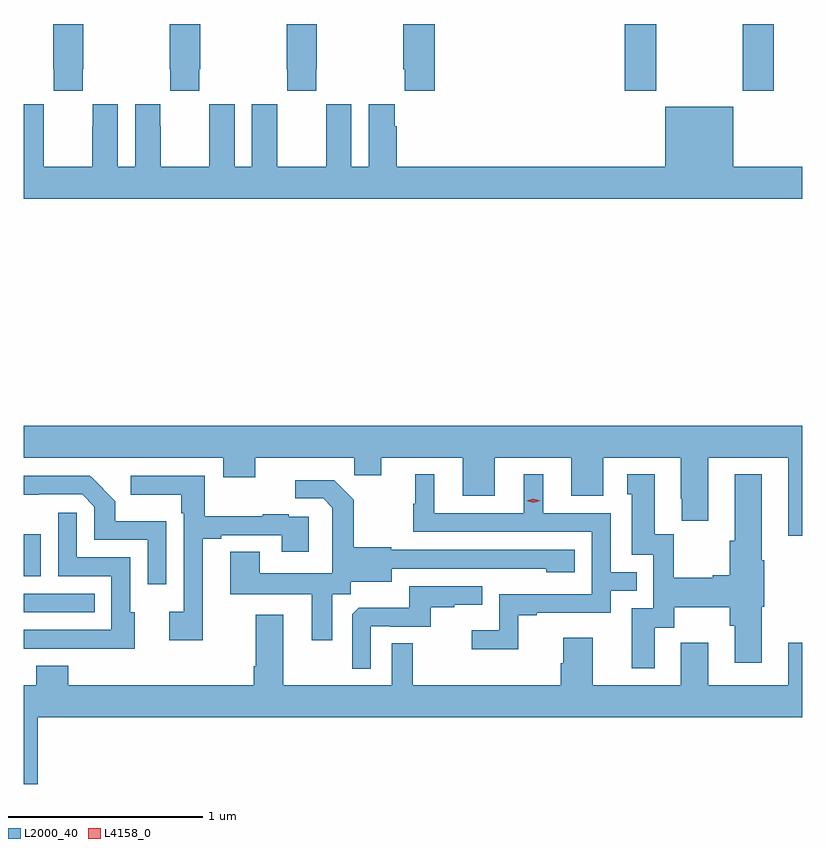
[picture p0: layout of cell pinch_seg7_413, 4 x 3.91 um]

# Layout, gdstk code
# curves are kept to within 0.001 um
import gdstk
lib = gdstk.Library(unit=1e-6, precision=1e-09)
def R(c, l, rs):  # rectangles x0, y0, x1, y1
    for r in rs: c.add(gdstk.rectangle(r[:2], r[2:], *l))
def P(c, l, *ps):  # polygons
    for p in ps: c.add(gdstk.Polygon(p, *l))
L2000_40 = (2000, 40)
L4158_0 = (4158, 0)

pinch_seg7_413 = lib.new_cell('pinch_seg7_413')
R(pinch_seg7_413, L2000_40, [(349.656,1046.442,350.021,1046.538), (349.656,1046.627,349.744,1046.842), (352.745,1049.121,352.905,1049.465), (353.35,1049.121,353.51,1049.465)])
P(pinch_seg7_413, L2000_40, [(350.559,1049.233),(350.562,1049.233),(350.562,1049.465),(350.407,1049.465),(350.407,1049.233),(350.409,1049.233),(350.409,1049.121),(350.559,1049.121)],
  [(351.159,1049.233),(351.162,1049.233),(351.162,1049.465),(351.007,1049.465),(351.007,1049.233),(351.009,1049.233),(351.009,1049.121),(351.159,1049.121)],
  [(351.767,1049.465),(351.607,1049.465),(351.607,1049.233),(351.613,1049.233),(351.613,1049.121),(351.767,1049.121)],
  [(349.959,1049.233),(349.962,1049.233),(349.962,1049.465),(349.807,1049.465),(349.807,1049.233),(349.809,1049.233),(349.809,1049.121),(349.959,1049.121)],
  [(353.656,1048.732),(353.302,1048.732),(353.302,1049.041),(352.952,1049.041),(352.952,1048.732),(351.572,1048.732),(351.572,1048.94),(351.562,1048.94),(351.562,1049.053),(351.428,1049.053),(351.428,1048.732),(351.34,1048.732),(351.34,1049.053),(351.21,1049.053),(351.21,1048.94),(351.209,1048.94),(351.209,1048.732),(350.959,1048.732),(350.959,1048.94),(350.958,1048.94),(350.958,1049.053),(350.828,1049.053),(350.828,1048.732),(350.74,1048.732),(350.74,1049.053),(350.61,1049.053),(350.61,1048.94),(350.609,1048.94),(350.609,1048.732),(350.359,1048.732),(350.359,1048.94),(350.358,1048.94),(350.358,1049.053),(350.228,1049.053),(350.228,1048.732),(350.14,1048.732),(350.14,1049.053),(350.01,1049.053),(350.01,1048.94),(350.009,1048.94),(350.009,1048.732),(349.759,1048.732),(349.759,1048.94),(349.758,1048.94),(349.758,1049.053),(349.656,1049.053),(349.656,1048.568),(353.656,1048.568)],
  [(353.656,1047.4),(349.656,1047.4),(349.656,1047.236),(350.681,1047.236),(350.681,1047.137),(350.845,1047.137),(350.845,1047.236),(351.355,1047.236),(351.355,1047.146),(351.493,1047.146),(351.493,1047.236),(351.911,1047.236),(351.911,1047.042),(352.075,1047.042),(352.075,1047.236),(352.469,1047.236),(352.469,1047.042),(352.633,1047.042),(352.633,1047.236),(353.033,1047.236),(353.033,1047.025),(353.036,1047.025),(353.036,1046.913),(353.173,1046.913),(353.173,1047.236),(353.585,1047.236),(353.585,1046.835),(353.656,1046.835)],
  [(352.897,1046.362),(352.999,1046.362),(352.999,1046.468),(353.284,1046.468),(353.284,1046.373),(353.309,1046.373),(353.309,1046.184),(353.449,1046.184),(353.449,1046.472),(353.462,1046.472),(353.462,1046.709),(353.449,1046.709),(353.449,1047.151),(353.309,1047.151),(353.309,1046.809),(353.284,1046.809),(353.284,1046.633),(353.195,1046.633),(353.195,1046.62),(352.995,1046.62),(352.995,1046.843),(352.897,1046.843),(352.897,1047.151),(352.757,1047.151),(352.757,1047.048),(352.781,1047.048),(352.781,1046.739),(352.89,1046.739),(352.89,1046.463),(352.781,1046.463),(352.781,1046.154),(352.897,1046.154)],
  [(352.197,1046.427),(352.291,1046.427),(352.291,1046.439),(352.671,1046.439),(352.671,1046.553),(352.805,1046.553),(352.805,1046.649),(352.671,1046.649),(352.671,1046.952),(352.324,1046.952),(352.324,1047.151),(352.226,1047.151),(352.226,1046.952),(351.766,1046.952),(351.766,1047.151),(351.668,1047.151),(351.668,1047),(351.657,1047),(351.657,1046.856),(352.575,1046.856),(352.575,1046.535),(352.098,1046.535),(352.098,1046.35),(351.957,1046.35),(351.957,1046.252),(352.197,1046.252)],
  [(350.575,1046.82),(350.671,1046.82),(350.671,1046.838),(350.981,1046.838),(350.981,1046.754),(351.121,1046.754),(351.121,1046.934),(351.017,1046.934),(351.017,1046.947),(350.885,1046.947),(350.885,1046.936),(350.587,1046.936),(350.587,1047.144),(350.205,1047.144),(350.205,1047.047),(350.466,1047.047),(350.466,1046.951),(350.478,1046.951),(350.478,1046.446),(350.403,1046.446),(350.403,1046.298),(350.575,1046.298)],
  [(350.388,1046.911),(350.127,1046.911),(350.127,1047.014),(349.996,1047.144),(349.656,1047.144),(349.656,1047.047),(349.956,1047.048),(350.019,1046.985),(350.019,1046.814),(350.292,1046.814),(350.292,1046.586),(350.388,1046.586)],
  [(351.241,1046.536),(351.336,1046.536),(351.336,1046.6),(351.547,1046.6),(351.547,1046.667),(352.341,1046.666),(352.341,1046.648),(352.486,1046.648),(352.486,1046.763),(351.543,1046.763),(351.543,1046.776),(351.351,1046.776),(351.351,1047.021),(351.251,1047.121),(351.051,1047.121),(351.051,1047.027),(351.195,1047.027),(351.242,1046.98),(351.242,1046.885),(351.24,1046.885),(351.24,1046.644),(350.869,1046.644),(350.869,1046.753),(350.717,1046.753),(350.717,1046.534),(351.137,1046.534),(351.137,1046.298),(351.241,1046.298)],
  [(350.227,1046.442),(350.202,1046.442),(350.202,1046.724),(349.929,1046.724),(349.929,1046.953),(349.833,1046.953),(349.833,1046.628),(350.106,1046.628),(350.106,1046.352),(349.656,1046.352),(349.656,1046.256),(350.009,1046.256),(350.009,1046.255),(350.227,1046.255)],
  [(351.438,1046.37),(351.538,1046.37),(351.538,1046.367),(351.746,1046.367),(351.746,1046.469),(351.869,1046.469),(351.869,1046.48),(352.013,1046.48),(352.013,1046.577),(351.636,1046.577),(351.636,1046.465),(351.377,1046.465),(351.345,1046.433),(351.345,1046.153),(351.438,1046.153)],
  [(349.727,1045.904),(353.656,1045.904),(353.656,1046.287),(353.585,1046.287),(353.585,1046.068),(353.173,1046.068),(353.173,1046.287),(353.033,1046.287),(353.033,1046.068),(352.579,1046.068),(352.579,1046.311),(352.427,1046.311),(352.427,1046.181),(352.415,1046.181),(352.415,1046.068),(351.655,1046.068),(351.655,1046.282),(351.546,1046.282),(351.546,1046.068),(350.989,1046.068),(350.989,1046.43),(350.849,1046.43),(350.849,1046.164),(350.837,1046.164),(350.837,1046.068),(349.885,1046.068),(349.885,1046.167),(349.721,1046.167),(349.721,1046.068),(349.656,1046.068),(349.656,1045.56),(349.727,1045.56)])
P(pinch_seg7_413, L4158_0, [(352.275,1047.005),(352.24,1047.015),(352.239,1047.015),(352.24,1047.016),(352.275,1047.025),(352.31,1047.016),(352.311,1047.015),(352.31,1047.015)])

lib.write_gds('pinch_seg7_413.gds')
